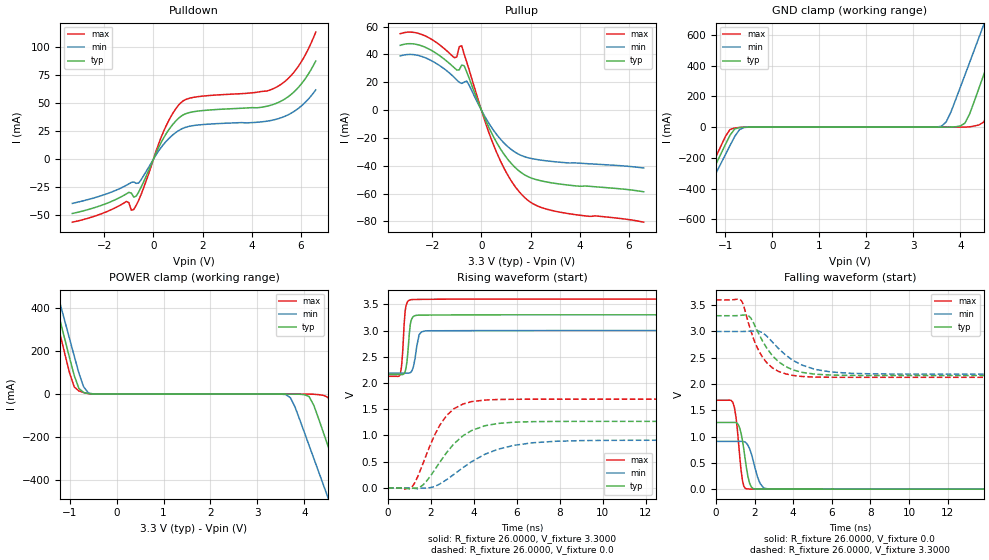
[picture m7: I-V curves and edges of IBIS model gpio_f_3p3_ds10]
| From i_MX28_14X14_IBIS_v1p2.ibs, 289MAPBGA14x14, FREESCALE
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|   Model gpio_f_3p3_ds10
| This model was characterised for following simulation conditions:
| Spice Models:
|  - Typ Condition
|   ..../backup/r63536/IBIS/GPIO_IBIS/io_dig_gpio_f_bs_ir_3p3_12mA/typ.model
|  - Min Condition
|   ..../backup/r63536/IBIS/GPIO_IBIS/io_dig_gpio_f_bs_ir_3p3_12mA/wcs.model
|  - Max Condition
|   ..../backup/r63536/IBIS/GPIO_IBIS/io_dig_gpio_f_bs_ir_3p3_12mA/bcs.model
[Model]  gpio_f_3p3_ds10
Model_type I/O
Polarity   Non-Inverting
Enable   Active-Low
Vinl =   0.8000V
Vinh =   2.0000V
Vmeas =  1.6500V
Cref =   0.0F
Rref =   26.0000
Vref =   1.6500V
C_comp   2.0139pF   1.8496pF   2.2065pF
[Temperature Range]   25.0000   0.1050k   -40.0000
[Voltage Range]   3.3000V   3.0000V   3.6000V
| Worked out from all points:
|   slope of the pulldown table from 0 to 0.495 V, typ, clamps not added: 22.5 ohm
|   slope of the pullup table from 0 to 0.495 V, typ, clamps not added: 25.8 ohm
|   GND clamp passes 1 mA (typ) near -0.62 V on its own axis
|   POWER clamp passes 1 mA (typ) near -0.53 V on its own axis
|   rising waveform, R_fixture 26.0000, V_fixture 3.3000: 20-80 % time 150ps typ, 204ps min, 135ps max; typ from 2.16 V to 3.3 V
|   rising waveform, R_fixture 26.0000, V_fixture 0.0: 20-80 % time 1.56ns typ, 2.24ns min, 1.17ns max; typ from 0 V to 1.27 V
|   falling waveform, R_fixture 26.0000, V_fixture 0.0: 20-80 % time 324ps typ, 424ps min, 266ps max; typ from 1.27 V to 0 V
|   falling waveform, R_fixture 26.0000, V_fixture 3.3000: 20-80 % time 1.31ns typ, 1.71ns min, 1.03ns max; typ from 3.3 V to 2.16 V
[Pulldown]
|Voltage   I(typ)   I(min)   I(max)
-3.3V     -48.68mA   -39.66mA   -56.48mA
-1.1V     -31.11mA   -23.39mA   -37.92mA
-1V       -29.75mA   -22.17mA   -39.05mA
-900mV    -30.45mA   -20.9mA    -45.78mA
-800mV    -34.08mA   -20.49mA   -45.06mA
-600mV    -29.38mA   -21.41mA   -36.88mA
400mV     18.42mA    12.9mA     24.18mA
1.1V      38.01mA    26.5mA     50.19mA
1.6V      42.29mA    29.93mA    55.18mA
5V        49.96mA    35.71mA    64.39mA
5.8V      61.98mA    43.89mA    80.22mA
6.6V      87.83mA    61.94mA    113.7mA
[Pullup]
|Voltage   I(typ)   I(min)   I(max)
-3.3V     46.56mA    38.98mA    54.91mA
-2.3V     45.28mA    37.76mA    53.46mA
-1.1V     30.39mA    23.41mA    37.69mA
-900mV    28.95mA    19.98mA    45.63mA
-800mV    32.38mA    19.17mA    46.24mA
-600mV    27.61mA    20.88mA    34.73mA
100mV     -4.308mA   -3.283mA   -5.577mA
600mV     -22.64mA   -17.05mA   -29.58mA
1.2V      -38.06mA   -28.1mA    -50.45mA
1.9V      -47.85mA   -34.25mA   -64.94mA
3.2V      -53.17mA   -37.48mA   -73.38mA
6.6V      -58.72mA   -41.63mA   -80.57mA
[GND_clamp]
|Voltage   I(typ)   I(min)   I(max)
-3.3V     -1.585A    -1.577A    -1.597A
-1.9V     -687.5mA   -724mA     -659.6mA
-1.7V     -559.5mA   -602.6mA   -526mA
-900mV    -52.23mA   -118.9mA   -14.88mA
-600mV    -643.9uA   -1.888mA   -689.4uA
3.6V      4.033uA    5.912mA    120.9pA
4.1V      26.13mA    339.5mA    221.8uA
4.4V      255mA      584.9mA    14.68mA
4.6V      427.4mA    749.5mA    99.11mA
4.9V      687.8mA    998.1mA    367.8mA
5.2V      950.6mA    1.249A     641.2mA
6.6V      2.219A     2.453A     1.963A
[POWER_clamp]
|Voltage   I(typ)   I(min)   I(max)
-3.3V     2.219A     2.19A      2.26A
-1.4V     514mA      584.9mA    458.6mA
-1.2V     341.1mA    421.1mA    277.3mA
-900mV    86.43mA    177mA      33.13mA
-700mV    7.36mA     34mA       7.301mA
3.6V      -3.447uA   -1.888mA   -318.7pA
3.8V      -92.08uA   -60.04mA   -2.661uA
4.1V      -11.61mA   -239.4mA   -74.75uA
4.5V      -240.5mA   -481.3mA   -14.88mA
4.9V      -495.6mA   -724mA     -259.1mA
5.2V      -687.5mA   -906.5mA   -459.2mA
6.6V      -1.585A    -1.761A    -1.396A
[Ramp]
| variable   typ   min   max
dV/dt_r  0.7614/1.5554n   0.5457/2.2316n   1.0151/1.1669n
dV/dt_f  0.6824/1.3124n   0.4869/1.6880n   0.8834/1.0219n
R_load = 26.0000
[Rising Waveform]
R_fixture= 26.0000
V_fixture= 3.3000
V_fixture_min= 3.0000
V_fixture_max= 3.6000
|time   V(typ)   V(min)   V(max)
0s        2.163V     2.188V     2.128V
573.1ps   2.162V     2.188V     2.183V
670.8ps   2.161V     2.188V     2.538V
794.2ps   2.215V     2.188V     3.368V
876.9ps   2.4V       2.187V     3.525V
1.035ns   3.116V     2.196V     3.586V
1.105ns   3.224V     2.227V     3.59V
1.446ns   3.294V     2.921V     3.593V
1.723ns   3.295V     2.993V     3.595V
25ns      3.3V       3V         3.6V
[Rising Waveform]
R_fixture= 26.0000
V_fixture= 0.0
V_fixture_min= 0.0
V_fixture_max= 0.0
|time   V(typ)   V(min)   V(max)
0s        2.43nV     11.36nV    2.969nV
1.113ns   -8.077mV   -2.562mV   25.1mV
1.379ns   2.166mV    -15.92mV   214.4mV
1.643ns   64.42mV    -1.998mV   483.1mV
2.405ns   488.5mV    74.85mV    1.194V
3.071ns   843.3mV    260.6mV    1.512V
3.889ns   1.095V     500.1mV    1.646V
5.122ns   1.23V      739mV      1.686V
7.791ns   1.268V     889.4mV    1.692V
25ns      1.269V     909.6mV    1.692V
[Falling Waveform]
R_fixture= 26.0000
V_fixture= 0.0
V_fixture_min= 0.0
V_fixture_max= 0.0
|time   V(typ)   V(min)   V(max)
0s        1.269V     909.6mV    1.692V
875.5ps   1.27V      909.6mV    1.65V
1.04ns    1.266V     909.6mV    1.359V
1.24ns    1.148V     910.1mV    577.1mV
1.37ns    928.5mV    909.5mV    166.5mV
1.578ns   400.1mV    875.6mV    7.512mV
1.826ns   43.67mV    678.8mV    2.602mV
2.284ns   2.303mV    108mV      1.32mV
2.726ns   1.334mV    3.277mV    766.2uV
25ns      3.09nV     13.05nV    3.285nV
[Falling Waveform]
R_fixture= 26.0000
V_fixture= 3.3000
V_fixture_min= 3.0000
V_fixture_max= 3.6000
|time   V(typ)   V(min)   V(max)
0s        3.3V       3V         3.6V
1.3ns     3.308V     3V         3.592V
1.436ns   3.313V     3.001V     3.486V
1.797ns   3.258V     3.007V     3.021V
2.417ns   2.814V     2.976V     2.506V
3.235ns   2.425V     2.678V     2.241V
3.991ns   2.269V     2.449V     2.163V
5.143ns   2.187V     2.278V     2.132V
6.932ns   2.165V     2.205V     2.128V
25ns      2.163V     2.188V     2.128V
